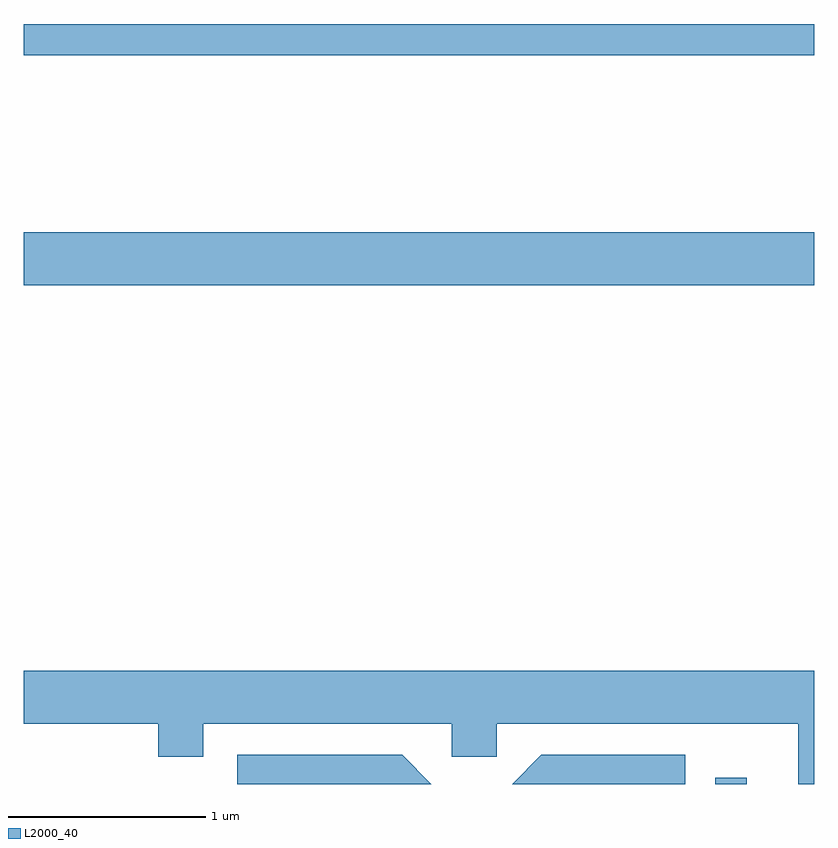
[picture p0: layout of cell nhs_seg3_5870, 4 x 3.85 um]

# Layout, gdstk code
import gdstk
lib = gdstk.Library(unit=1e-6, precision=1e-09)
def R(c, l, rs):  # rectangles x0, y0, x1, y1
    for r in rs: c.add(gdstk.rectangle(r[:2], r[2:], *l))
def P(c, l, *ps):  # polygons
    for p in ps: c.add(gdstk.Polygon(p, *l))
L2000_40 = (2000, 40)

nhs_seg3_5870 = lib.new_cell('nhs_seg3_5870')
R(nhs_seg3_5870, L2000_40, [(361.111,1167.892,361.269,1167.923), (357.611,1170.416,361.611,1170.684), (357.611,1171.581,361.611,1171.739)])
P(nhs_seg3_5870, L2000_40, [(361.611,1168.464),(357.611,1168.464),(357.611,1168.196),(358.291,1168.196),(358.291,1168.031),(358.519,1168.031),(358.519,1168.196),(359.776,1168.196),(359.776,1168.031),(360.004,1168.031),(360.004,1168.196),(361.531,1168.196),(361.531,1167.892),(361.611,1167.892)],
  [(360.959,1168.039),(360.229,1168.039),(360.082,1167.892),(360.959,1167.892)],
  [(359.527,1168.039),(358.691,1168.039),(358.691,1167.892),(359.674,1167.892)])

lib.write_gds('nhs_seg3_5870.gds')
